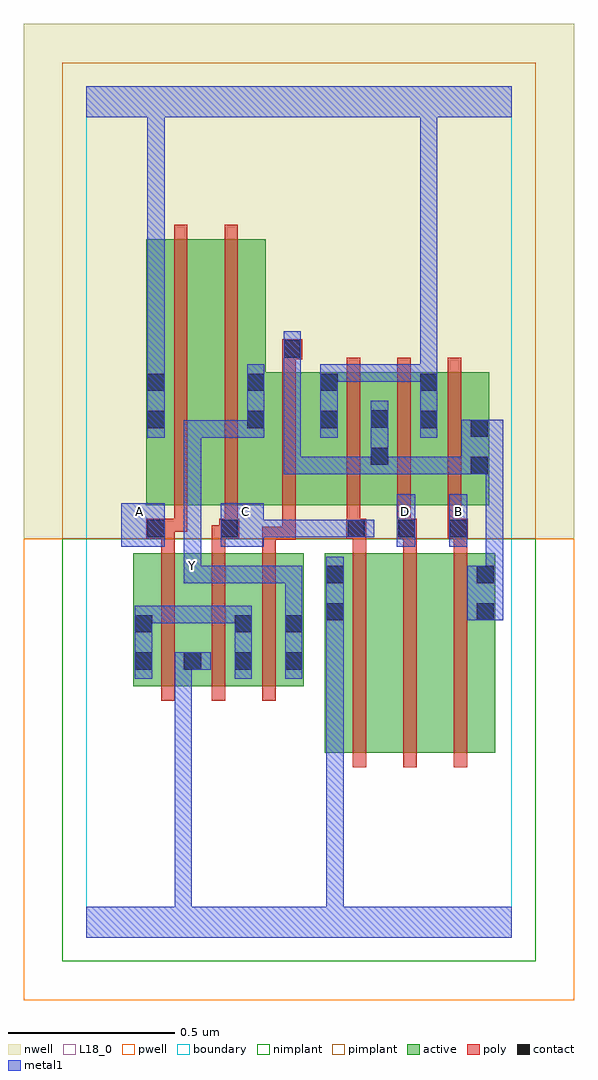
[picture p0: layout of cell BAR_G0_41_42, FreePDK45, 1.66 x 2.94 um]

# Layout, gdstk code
import gdstk
lib = gdstk.Library(unit=1e-6, precision=1e-09)
def R(c, l, rs):  # rectangles x0, y0, x1, y1
    for r in rs: c.add(gdstk.rectangle(r[:2], r[2:], *l))
def A(c, l, x, y, w, h, nx, ny, dx, dy):  # array of equal rectangles
    R(c, l, [(x+i*dx, y+j*dy, x+i*dx+w, y+j*dy+h) for i in range(nx) for j in range(ny)])
active = (1, 0)
pwell = (2, 0)
nwell = (3, 0)
nimplant = (4, 0)
pimplant = (5, 0)
poly = (9, 0)
contact = (10, 0)
metal1 = (11, 0)
L18_0 = (18, 0)
boundary = (235, 0)

bar_g0_41_42 = lib.new_cell('BAR_G0_41_42')
R(bar_g0_41_42, active, [(0.718,0.556,0.778,1.156), (0.718,0.556,0.898,1.156), (0.898,0.556,1.05,1.156), (1.05,0.556,1.23,1.156), (1.17,0.556,1.23,1.156), (0.142,0.756,0.202,1.156), (0.142,0.756,0.35,1.156), (0.29,0.756,0.502,1.156), (0.29,0.756,0.35,0.862), (0.442,0.756,0.502,1.156), (0.442,0.756,0.654,1.156), (0.594,0.756,0.654,1.156), (0.18,1.3,0.36,2.1), (0.18,1.3,0.24,2.1), (0.36,1.3,0.54,2.1), (0.48,1.3,0.76,1.7), (0.48,1.3,0.54,1.816), (0.7,1.3,0.76,1.7), (0.7,1.3,0.912,1.7), (0.852,1.3,1.06,1.7), (1,1.3,1.06,1.7), (1,1.3,1.212,1.7), (1.152,1.3,1.212,1.7), (0.852,1.418,0.912,1.644)])
R(bar_g0_41_42, pwell, [(-0.188,-0.188,1.468,1.2)])
R(bar_g0_41_42, nwell, [(-0.188,1.2,1.468,2.748)])
R(bar_g0_41_42, nimplant, [(-0.072,-0.072,1.352,1.2)])
R(bar_g0_41_42, pimplant, [(-0.072,1.2,1.352,2.632)])
A(bar_g0_41_42, poly, 0.802, 0.512, 0.04, 0.688, 3, 1, 0.152, 0)
A(bar_g0_41_42, poly, 0.226, 0.712, 0.04, 0.488, 3, 1, 0.152, 0)
A(bar_g0_41_42, poly, 0.802, 1.16, 0.04, 0.08, 3, 1, 0.152, 0)
A(bar_g0_41_42, poly, 0.784, 1.22, 0.04, 0.076, 3, 1, 0.152, 0)
A(bar_g0_41_42, poly, 0.784, 1.256, 0.04, 0.488, 3, 1, 0.152, 0)
R(bar_g0_41_42, poly, [(0.226,1.16,0.266,1.24), (0.378,1.16,0.418,1.24), (0.53,1.16,0.57,1.236), (0.53,1.196,0.63,1.236), (0.59,1.196,0.63,1.236), (0.59,1.196,0.63,1.236), (0.59,1.196,0.63,1.296), (0.18,1.2,0.266,1.26), (0.378,1.2,0.44,1.24), (0.4,1.2,0.44,1.24), (0.4,1.2,0.46,1.26), (0.782,1.2,0.842,1.26), (0.802,1.2,0.842,1.24), (0.802,1.2,0.842,1.24), (0.934,1.2,0.994,1.26), (1.088,1.2,1.148,1.26), (1.106,1.2,1.146,1.24), (1.106,1.2,1.146,1.24), (0.226,1.22,0.266,1.26), (0.226,1.22,0.304,1.26), (0.264,1.22,0.304,1.296), (0.416,1.22,0.456,1.296), (0.936,1.22,0.976,1.26), (0.936,1.22,0.976,1.26), (0.264,1.256,0.304,2.144), (0.416,1.256,0.456,2.144), (0.59,1.256,0.63,1.744), (0.59,1.704,0.63,1.78), (0.59,1.74,0.65,1.8)])
A(bar_g0_41_42, contact, 0.294, 0.806, 0.052, 0.052, 3, 1, 0.152, 0)
R(bar_g0_41_42, contact, [(0.146,0.806,0.198,0.858), (0.146,0.918,0.198,0.97), (0.446,0.918,0.498,0.97), (0.598,0.918,0.65,0.97), (0.722,0.954,0.774,1.006), (1.174,0.954,1.226,1.006), (0.722,1.066,0.774,1.118), (1.174,1.066,1.226,1.118), (0.184,1.204,0.236,1.256), (0.404,1.204,0.456,1.256), (0.786,1.204,0.838,1.256), (0.938,1.204,0.99,1.256), (1.092,1.204,1.144,1.256), (1.156,1.394,1.208,1.446), (0.856,1.422,0.908,1.474), (1.156,1.506,1.208,1.558), (0.184,1.532,0.236,1.584), (0.484,1.532,0.536,1.584), (0.704,1.532,0.756,1.584), (1.004,1.532,1.056,1.584), (0.856,1.534,0.908,1.586), (0.184,1.644,0.236,1.696), (0.484,1.644,0.536,1.696), (0.704,1.644,0.756,1.696), (1.004,1.644,1.056,1.696), (0.594,1.744,0.646,1.796)])
R(bar_g0_41_42, metal1, [(0,0,1.28,0.092), (0.266,0.04,0.318,0.092), (0.266,0.04,0.318,0.092), (0.266,0.04,0.318,0.092), (0.266,0.04,0.318,0.092), (0.266,0.04,0.318,0.092), (0.266,0.04,0.318,0.092), (0.266,0.04,0.318,0.858), (0.722,0.04,0.774,0.092), (0.722,0.04,0.774,0.092), (0.722,0.04,0.774,0.092), (0.722,0.04,0.774,0.092), (0.722,0.04,0.774,0.978), (0.146,0.778,0.198,0.998), (0.446,0.778,0.498,0.998), (0.598,0.778,0.65,0.998), (0.266,0.806,0.318,0.858), (0.266,0.806,0.318,0.858), (0.266,0.806,0.318,0.858), (0.266,0.806,0.318,0.858), (0.266,0.806,0.318,0.858), (0.266,0.806,0.318,0.858), (0.266,0.806,0.374,0.858), (0.722,0.926,0.774,0.978), (0.722,0.926,0.774,0.978), (0.722,0.926,0.774,0.978), (0.722,0.926,0.774,0.978), (0.722,0.926,0.774,1.146), (0.146,0.946,0.198,0.998), (0.146,0.946,0.198,0.998), (0.146,0.946,0.308,0.998), (0.256,0.946,0.308,0.998), (0.256,0.946,0.498,0.998), (0.446,0.946,0.498,0.998), (0.446,0.946,0.498,0.998), (0.598,0.946,0.65,1.118), (1.146,0.954,1.254,1.118), (0.294,1.066,0.456,1.118), (0.294,1.066,0.346,1.174), (0.404,1.066,0.456,1.118), (0.404,1.066,0.456,1.118), (0.404,1.066,0.456,1.118), (0.404,1.066,0.646,1.118), (0.594,1.066,0.646,1.118), (0.594,1.066,0.646,1.118), (0.594,1.066,0.65,1.118), (1.202,1.066,1.254,1.446), (1.202,1.066,1.254,1.118), (1.202,1.066,1.254,1.118), (1.202,1.066,1.254,1.118), (1.202,1.066,1.254,1.118), (0.294,1.122,0.346,1.556), (0.106,1.176,0.236,1.306), (0.404,1.176,0.534,1.306), (0.934,1.176,0.99,1.334), (1.092,1.176,1.146,1.334), (0.482,1.204,0.534,1.256), (0.482,1.204,0.534,1.256), (0.482,1.204,0.646,1.256), (0.594,1.204,0.646,1.256), (0.594,1.204,0.646,1.256), (0.594,1.204,0.646,1.256), (0.594,1.204,0.798,1.256), (0.746,1.204,0.798,1.256), (0.746,1.204,0.81,1.256), (0.758,1.204,0.866,1.256), (0.594,1.394,0.646,1.446), (0.594,1.394,0.798,1.446), (0.594,1.394,0.646,1.768), (0.746,1.394,0.798,1.446), (0.746,1.394,0.798,1.446), (0.746,1.394,0.798,1.446), (0.746,1.394,0.908,1.446), (0.856,1.394,0.908,1.446), (0.856,1.394,0.908,1.446), (0.856,1.394,0.908,1.614), (0.856,1.394,1.07,1.446), (1.018,1.394,1.07,1.446), (1.018,1.394,1.18,1.446), (1.128,1.394,1.18,1.446), (1.128,1.394,1.18,1.446), (1.128,1.394,1.254,1.558), (0.184,1.504,0.236,1.724), (0.294,1.504,0.346,1.556), (0.294,1.504,0.346,1.556), (0.294,1.504,0.346,1.556), (0.294,1.504,0.346,1.556), (0.294,1.504,0.346,1.556), (0.294,1.504,0.536,1.556), (0.484,1.504,0.536,1.724), (0.704,1.504,0.756,1.724), (1.004,1.504,1.056,1.724), (0.184,1.672,0.236,2.52), (0.704,1.672,0.798,1.724), (0.746,1.672,0.798,1.724), (0.746,1.672,0.946,1.724), (0.894,1.672,0.946,1.724), (0.894,1.672,0.946,1.724), (0.894,1.672,0.946,1.724), (0.894,1.672,1.056,1.724), (1.004,1.672,1.056,1.724), (1.004,1.672,1.056,1.724), (1.004,1.672,1.056,1.724), (1.004,1.672,1.056,1.724), (1.004,1.672,1.056,2.52), (0.594,1.716,0.646,1.768), (0.594,1.716,0.646,1.768), (0.594,1.716,0.646,1.768), (0.594,1.716,0.646,1.768), (0.594,1.716,0.646,1.768), (0.594,1.716,0.646,1.768), (0.594,1.716,0.646,1.768), (0.594,1.716,0.646,1.768), (0.594,1.716,0.646,1.824), (0,2.468,1.28,2.56), (0.184,2.468,0.236,2.52), (0.184,2.468,0.236,2.52), (0.184,2.468,0.236,2.52), (0.184,2.468,0.236,2.52), (0.184,2.468,0.236,2.52), (0.184,2.468,0.236,2.52), (0.184,2.468,0.236,2.52), (0.184,2.468,0.236,2.52), (1.004,2.468,1.056,2.52), (1.004,2.468,1.056,2.52), (1.004,2.468,1.056,2.52), (1.004,2.468,1.056,2.52), (1.004,2.468,1.056,2.52), (1.004,2.468,1.056,2.52), (1.004,2.468,1.056,2.52), (1.004,2.468,1.056,2.52), (1.004,2.468,1.056,2.52), (1.004,2.468,1.056,2.52), (1.004,2.468,1.056,2.52), (1.004,2.468,1.056,2.52)])
R(bar_g0_41_42, L18_0, [(0,0,1.28,0.092), (0.266,0.04,0.318,0.092), (0.266,0.04,0.318,0.092), (0.266,0.04,0.318,0.092), (0.266,0.04,0.318,0.092), (0.266,0.04,0.318,0.092), (0.266,0.04,0.318,0.092), (0.266,0.04,0.318,0.858), (0.722,0.04,0.774,0.092), (0.722,0.04,0.774,0.092), (0.722,0.04,0.774,0.092), (0.722,0.04,0.774,0.092), (0.722,0.04,0.774,0.978), (0.598,0.778,0.65,0.998), (0.266,0.806,0.318,0.858), (0.266,0.806,0.318,0.858), (0.266,0.806,0.318,0.858), (0.266,0.806,0.318,0.858), (0.266,0.806,0.318,0.858), (0.266,0.806,0.318,0.858), (0.266,0.806,0.374,0.858), (0.722,0.926,0.774,1.146), (0.722,0.926,0.774,0.978), (0.722,0.926,0.774,0.978), (0.722,0.926,0.774,0.978), (0.722,0.926,0.774,0.978), (0.598,0.946,0.65,1.118), (0.294,1.066,0.346,1.174), (0.294,1.066,0.456,1.118), (0.404,1.066,0.456,1.118), (0.404,1.066,0.456,1.118), (0.404,1.066,0.456,1.118), (0.404,1.066,0.646,1.118), (0.594,1.066,0.646,1.118), (0.594,1.066,0.646,1.118), (0.594,1.066,0.65,1.118), (0.294,1.094,0.346,1.146), (0.294,1.122,0.346,1.556), (0.106,1.176,0.236,1.306), (0.404,1.176,0.534,1.306), (0.934,1.176,0.99,1.334), (1.092,1.176,1.146,1.334), (0.482,1.204,0.534,1.256), (0.482,1.204,0.534,1.256), (0.482,1.204,0.646,1.256), (0.594,1.204,0.646,1.256), (0.594,1.204,0.646,1.256), (0.594,1.204,0.646,1.256), (0.594,1.204,0.798,1.256), (0.746,1.204,0.798,1.256), (0.746,1.204,0.81,1.256), (0.758,1.204,0.866,1.256), (0.134,1.254,0.186,1.306), (0.454,1.254,0.506,1.306), (0.934,1.254,0.986,1.306), (1.094,1.254,1.146,1.306), (0.184,1.504,0.236,1.724), (0.294,1.504,0.346,1.556), (0.294,1.504,0.346,1.556), (0.294,1.504,0.346,1.556), (0.294,1.504,0.346,1.556), (0.294,1.504,0.346,1.556), (0.294,1.504,0.536,1.556), (0.484,1.504,0.536,1.724), (0.704,1.504,0.756,1.724), (1.004,1.504,1.056,1.724), (0.184,1.672,0.236,2.52), (0.704,1.672,0.798,1.724), (0.746,1.672,0.798,1.724), (0.746,1.672,0.946,1.724), (0.894,1.672,0.946,1.724), (0.894,1.672,0.946,1.724), (0.894,1.672,0.946,1.724), (0.894,1.672,1.056,1.724), (1.004,1.672,1.056,1.724), (1.004,1.672,1.056,1.724), (1.004,1.672,1.056,1.724), (1.004,1.672,1.056,1.724), (1.004,1.672,1.056,2.52), (0,2.468,1.28,2.56), (0.184,2.468,0.236,2.52), (0.184,2.468,0.236,2.52), (0.184,2.468,0.236,2.52), (0.184,2.468,0.236,2.52), (0.184,2.468,0.236,2.52), (0.184,2.468,0.236,2.52), (0.184,2.468,0.236,2.52), (0.184,2.468,0.236,2.52), (1.004,2.468,1.056,2.52), (1.004,2.468,1.056,2.52), (1.004,2.468,1.056,2.52), (1.004,2.468,1.056,2.52), (1.004,2.468,1.056,2.52), (1.004,2.468,1.056,2.52), (1.004,2.468,1.056,2.52), (1.004,2.468,1.056,2.52), (1.004,2.468,1.056,2.52), (1.004,2.468,1.056,2.52), (1.004,2.468,1.056,2.52), (1.004,2.468,1.056,2.52)])
R(bar_g0_41_42, boundary, [(0,0,1.28,2.56)])
bar_g0_41_42.add(gdstk.Label('A', (0.16,1.28), layer=11, texttype=0))
bar_g0_41_42.add(gdstk.Label('B', (1.12,1.28), layer=11, texttype=0))
bar_g0_41_42.add(gdstk.Label('C', (0.48,1.28), layer=11, texttype=0))
bar_g0_41_42.add(gdstk.Label('D', (0.96,1.28), layer=11, texttype=0))
bar_g0_41_42.add(gdstk.Label('Y', (0.32,1.12), layer=11, texttype=0))

lib.write_gds('BAR_G0_41_42.gds')
